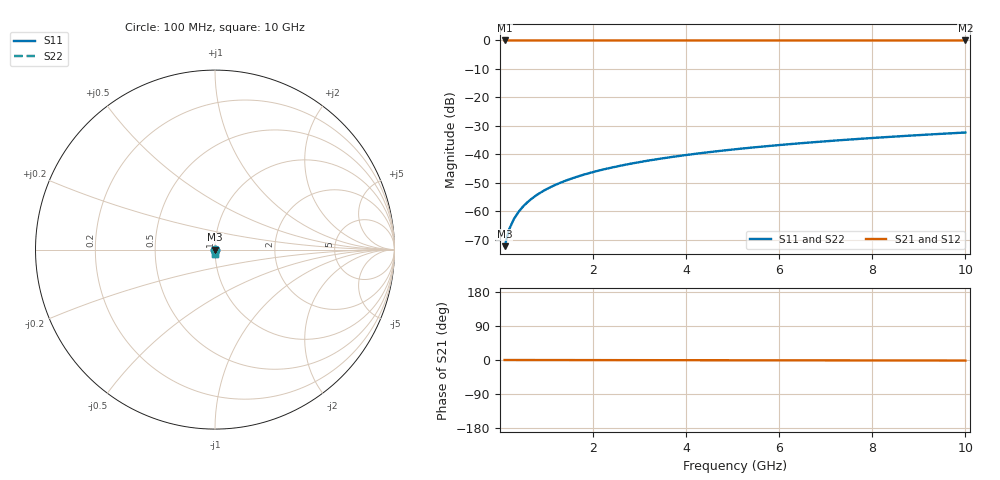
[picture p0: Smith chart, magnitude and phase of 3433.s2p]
# Hz S RI R 50.00
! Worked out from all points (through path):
!   100 points, 100 MHz to 10 GHz, reference 50 ohm
!   highest |S21| = 0.00 dB at 100 MHz (marker M1); lowest = 0.0 dB at 10 GHz (marker M2)
!   lowest |S11| = -72.2 dB at 100 MHz (marker M3), VSWR 1.00, Z = 50 - j0.0246 ohm
!   |S11| at or under -10 dB: start of sweep to end of sweep
!   |S22| runs from -72.2 to -32.3 dB; largest |S21 - S12| = 1e-15
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1e8  -7.6e-07 -0.000246  1 -0.000246  1 -0.000246  -7.6e-07 -0.000246
2e8  -1.19e-06 -0.000492  1 -0.000493  1 -0.000493  -1.19e-06 -0.000492
3e8  -1.74e-06 -0.000738  1 -0.000739  1 -0.000739  -1.74e-06 -0.000738
4e8  -2.4e-06 -0.000984  1 -0.000985  1 -0.000985  -2.4e-06 -0.000984
5e8  -3.19e-06 -0.00123  1 -0.00123  1 -0.00123  -3.19e-06 -0.00123
6e8  -4.1e-06 -0.00148  1 -0.00148  1 -0.00148  -4.1e-06 -0.00148
7e8  -5.14e-06 -0.00172  1 -0.00172  1 -0.00172  -5.14e-06 -0.00172
8e8  -6.29e-06 -0.00197  1 -0.00197  1 -0.00197  -6.29e-06 -0.00197
9e8  -7.56e-06 -0.00221  1 -0.00222  1 -0.00222  -7.56e-06 -0.00221
1.1e9  -1.05e-05 -0.0027  1 -0.00271  1 -0.00271  -1.05e-05 -0.0027
1.4e9  -1.57e-05 -0.00344  1 -0.00344  1 -0.00344  -1.57e-05 -0.00344
1.8e9  -2.44e-05 -0.00442  1 -0.00442  1 -0.00442  -2.44e-05 -0.00442
2.1e9  -3.22e-05 -0.00515  1 -0.00516  1 -0.00516  -3.22e-05 -0.00515
2.5e9  -4.42e-05 -0.00613  1 -0.00614  1 -0.00614  -4.42e-05 -0.00613
2.9e9  -5.81e-05 -0.0071  0.9999 -0.00711  0.9999 -0.00711  -5.81e-05 -0.0071
3.4e9  -7.81e-05 -0.00832  0.9999 -0.00833  0.9999 -0.00833  -7.81e-05 -0.00832
4.2e9  -0.000116 -0.0103  0.9999 -0.0103  0.9999 -0.0103  -0.000116 -0.0103
5.1e9  -0.000168 -0.0124  0.9998 -0.0125  0.9998 -0.0125  -0.000168 -0.0124
5.9e9  -0.000222 -0.0144  0.9998 -0.0144  0.9998 -0.0144  -0.000222 -0.0144
6.7e9  -0.000283 -0.0163  0.9997 -0.0163  0.9997 -0.0163  -0.000283 -0.0163
8.4e9  -0.000438 -0.0204  0.9996 -0.0204  0.9996 -0.0204  -0.000438 -0.0204
1e10  -0.000614 -0.0242  0.9994 -0.0243  0.9994 -0.0243  -0.000614 -0.0242
